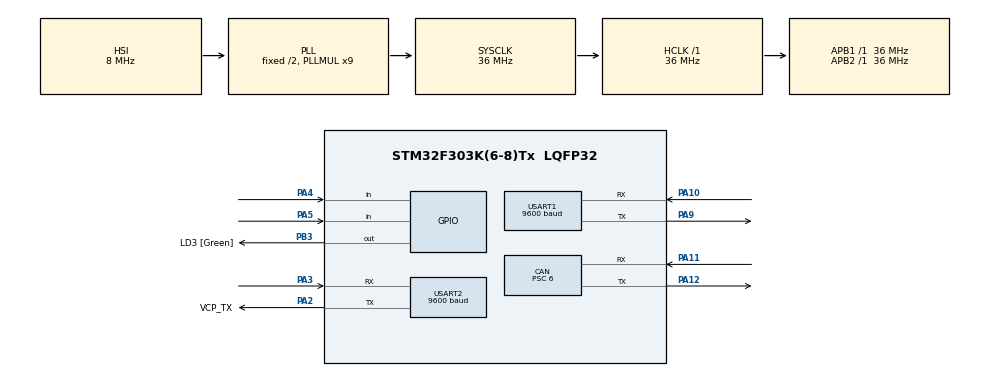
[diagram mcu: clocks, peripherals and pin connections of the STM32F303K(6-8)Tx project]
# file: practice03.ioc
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CAN.BS1=CAN_BS1_3TQ
CAN.BS2=CAN_BS2_2TQ
CAN.CalculateTimeQuantum=166.66666666666669
CAN.Prescaler=6
Mcu.Family=STM32F3
Mcu.Name=STM32F303K(6-8)Tx
Mcu.Package=LQFP32
NVIC.CAN_RX0_IRQn=true\:7\:0\:true\:false\:true\:true\:true
NVIC.PriorityGroup=NVIC_PRIORITYGROUP_4
NVIC.TIM1_UP_TIM16_IRQn=true\:0\:0\:true\:false\:true\:true\:true
NVIC.TIM6_DAC1_IRQn=true\:6\:0\:true\:false\:true\:true\:true
NVIC.TIM7_DAC2_IRQn=true\:6\:0\:true\:false\:true\:true\:true
NVIC.USART2_IRQn=true\:4\:0\:true\:false\:true\:true\:true
PA10.Mode=Asynchronous
PA10.Signal=USART1_RX
PA11.Mode=Master
PA11.Signal=CAN_RX
PA12.Mode=Master
PA12.Signal=CAN_TX
PA13.GPIO_Label=SWDIO
PA13.Mode=Serial_Wire
PA13.Signal=SYS_JTMS-SWDIO
PA14.GPIO_Label=SWCLK
PA14.Mode=Serial_Wire
PA14.Signal=SYS_JTCK-SWCLK
PA2.GPIO_Label=VCP_TX
PA2.Mode=Asynchronous
PA2.Signal=USART2_TX
PA3.Mode=Asynchronous
PA3.Signal=USART2_RX
PA4.Signal=GPIO_Input
PA5.Signal=GPIO_Input
PA9.Mode=Asynchronous
PA9.Signal=USART1_TX
PB3.GPIO_Label=LD3 [Green]
PB3.Signal=GPIO_Output
PF0\ /\ OSC_IN.GPIO_Label=MCO
PF0\ /\ OSC_IN.Mode=HSE-External-Clock-Source
PF0\ /\ OSC_IN.Signal=RCC_OSC_IN
ProjectManager.HeapSize=0x200
ProjectManager.StackSize=0x400
ProjectManager.TargetToolchain=SW4STM32
RCC.AHBFreq_Value=36000000
RCC.APB1Freq_Value=36000000
RCC.APB1TimFreq_Value=36000000
RCC.APB2Freq_Value=36000000
RCC.APB2TimFreq_Value=36000000
RCC.CortexFreq_Value=36000000
RCC.HCLKFreq_Value=36000000
RCC.HSE_VALUE=8000000
RCC.HSI_VALUE=8000000
RCC.PLLMUL=RCC_PLL_MUL9
RCC.SYSCLKFreq_VALUE=36000000
RCC.SYSCLKSourceVirtual=RCC_SYSCLKSOURCE_PLLCLK
TIM16.Period=20000-1
TIM16.Prescaler=9-1
TIM6.Period=2000-1
TIM6.Prescaler=9-1
TIM7.Period=2000-1
TIM7.Prescaler=9-1
USART1.BaudRate=9600
USART1.VirtualMode-Asynchronous=VM_ASYNC
USART2.BaudRate=9600
USART2.VirtualMode-Asynchronous=VM_ASYNC
VP_TIM16_VS_ClockSourceINT.Mode=Enable_Timer
VP_TIM6_VS_ClockSourceINT.Mode=Enable_Timer
VP_TIM7_VS_ClockSourceINT.Mode=Enable_Timer
board=NUCLEO-F303K8

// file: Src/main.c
/* USER CODE BEGIN Header */
/**
  ******************************************************************************
  * @file           : main.c
  * @brief          : Main program body
  ******************************************************************************
  * @attention
  *
  * <h2><center>&copy; Copyright (c) 2019 STMicroelectronics.
  * All rights reserved.</center></h2>
  *
  * This software component is licensed by ST under BSD 3-Clause license,
  * the "License"; You may not use this file except in compliance with the
  * License. You may obtain a copy of the License at:
  *                        opensource.org/licenses/BSD-3-Clause
  *
  ******************************************************************************
  */
/* USER CODE END Header */

#include "main.h"
#include "can.h"
#include "tim.h"
#include "usart.h"
#include "gpio.h"

/* USER CODE BEGIN Includes */
#include "stm32_printf.h"
#include "canmd_controller.h"
#include "stm32f4_easy_can.h"
#include "ps3.h"
/* USER CODE END Includes */

/* USER CODE BEGIN PV */
static uint8_t uart2_buf[8];
int motor_printf[4]={-2000,-2000,-2000,-2000};

/* USER CODE END PV */

void SystemClock_Config(void);
/* USER CODE BEGIN PFP */
void canmd_status_set_data(int canmd_num,int motor_select,unsigned int DutyOrPid,int p_value,int i_value,int d_value);

/* USER CODE END PFP */

int main(void)
{

  /* MCU Configuration--------------------------------------------------------*/

  /* Reset of all peripherals, Initializes the Flash interface and the Systick. */
  HAL_Init();

  /* Configure the system clock */
  SystemClock_Config();

  /* Initialize all configured peripherals */
  MX_GPIO_Init();
  MX_TIM7_Init();
  MX_USART1_UART_Init();
  MX_CAN_Init();
  MX_TIM6_Init();
  MX_USART2_UART_Init();
  MX_TIM16_Init();
  /* USER CODE BEGIN 2 */
  ps3_init();
  stm32_printf_init(&huart1);
  HAL_UART_Receive_IT(&huart2,uart2_buf,8);

  canmd_controller_init();

  stm32f4_easy_can_init(&hcan,0,0b11111);
  canmd_controller_clear_all_encoder_count();

  //// PID値設定送信
  HAL_Delay(500);
  canmd_status_set_data(1,0,0,30,30,45);
  canmd_status_set_data(1,1,0,30,30,45);
  canmd_status_set_data(2,0,0,30,30,45);
  canmd_status_set_data(2,1,0,30,30,45);
  canmd_status_set_data(3,0,0,30,30,45);
  canmd_status_set_data(3,1,0,30,30,45);
  canmd_status_set_data(4,0,0,30,30,45);
  canmd_status_set_data(4,1,0,30,30,45);

  //HAL_TIM_Base_Start_IT(&htim6);
  HAL_TIM_Base_Start_IT(&htim7);
  HAL_TIM_Base_Start_IT(&htim16);

  /* USER CODE END 2 */

  /* Infinite loop */
  /* USER CODE BEGIN WHILE */

 int i;
 //Ps3 ps3_data;
  while (1)
  {

    /* USER CODE END WHILE */

    /* USER CODE BEGIN 3 */

	 /* ps3_get_data(&ps3_data);
	  stm32_printf("====================================================================================================\n\r");
	  stm32_printf("L1=%d\n\r",ps3_data.L1);
	  stm32_printf("L2=%d\n\r",ps3_data.L2);
	  stm32_printf("R1=%d\n\r",ps3_data.R1);
	  stm32_printf("R2=%d\n\r",ps3_data.R2);
	  stm32_printf("batsu=%d\n\r",ps3_data.batsu);
	  stm32_printf("maru=%d\n\r",ps3_data.maru);
	  stm32_printf("shikaku=%d\n\r",ps3_data.shikaku);
	  stm32_printf("sankaku=%d\n\r",ps3_data.sankaku);
	  stm32_printf("up=%d\n\r",ps3_data.up);
	  stm32_printf("down=%d\n\r",ps3_data.down);
	  stm32_printf("right=%d\n\r",ps3_data.right);
	  stm32_printf("left=%d\n\r",ps3_data.left);
	  stm32_printf("left_analog_updown=%d\n\r",ps3_data.left_analog_updown);
	  stm32_printf("left_analog_rightleft=%d\n\r",ps3_data.left_analog_rightleft);

	  //debug printf
	  for(i=0;i<4;i++){
		  stm32_printf("motor_printf[%d]=%d\n\r",i,motor_printf[i]);
	  }*/
  }
  /* USER CODE END 3 */
}

void SystemClock_Config(void)
{
  RCC_OscInitTypeDef RCC_OscInitStruct = {0};
  RCC_ClkInitTypeDef RCC_ClkInitStruct = {0};
  RCC_PeriphCLKInitTypeDef PeriphClkInit = {0};

  /** Initializes the CPU, AHB and APB busses clocks
  */
  RCC_OscInitStruct.OscillatorType = RCC_OSCILLATORTYPE_HSI;
  RCC_OscInitStruct.HSIState = RCC_HSI_ON;
  RCC_OscInitStruct.HSICalibrationValue = RCC_HSICALIBRATION_DEFAULT;
  RCC_OscInitStruct.PLL.PLLState = RCC_PLL_ON;
  RCC_OscInitStruct.PLL.PLLSource = RCC_PLLSOURCE_HSI;
  RCC_OscInitStruct.PLL.PLLMUL = RCC_PLL_MUL9;
  if (HAL_RCC_OscConfig(&RCC_OscInitStruct) != HAL_OK)
  {
    Error_Handler();
  }
  /** Initializes the CPU, AHB and APB busses clocks
  */
  RCC_ClkInitStruct.ClockType = RCC_CLOCKTYPE_HCLK|RCC_CLOCKTYPE_SYSCLK
                              |RCC_CLOCKTYPE_PCLK1|RCC_CLOCKTYPE_PCLK2;
  RCC_ClkInitStruct.SYSCLKSource = RCC_SYSCLKSOURCE_PLLCLK;
  RCC_ClkInitStruct.AHBCLKDivider = RCC_SYSCLK_DIV1;
  RCC_ClkInitStruct.APB1CLKDivider = RCC_HCLK_DIV1;
  RCC_ClkInitStruct.APB2CLKDivider = RCC_HCLK_DIV1;

  if (HAL_RCC_ClockConfig(&RCC_ClkInitStruct, FLASH_LATENCY_1) != HAL_OK)
  {
    Error_Handler();
  }
  PeriphClkInit.PeriphClockSelection = RCC_PERIPHCLK_USART1;
  PeriphClkInit.Usart1ClockSelection = RCC_USART1CLKSOURCE_PCLK1;
  if (HAL_RCCEx_PeriphCLKConfig(&PeriphClkInit) != HAL_OK)
  {
    Error_Handler();
  }
}

/* USER CODE BEGIN 4 */
void HAL_TIM_PeriodElapsedCallback(TIM_HandleTypeDef *htim){
	if(htim->Instance == TIM16){
		HAL_GPIO_TogglePin(GPIOB, GPIO_PIN_3);
		int motor_output[CANMD_MD_NUM + 1][2] = {};
		int id=1;
		/*制御文*/

		Ps3 ps3_data;
		 ps3_get_data(&ps3_data);

		 stm32_printf("Hello,World!\n\r");
		 stm32_printf("L1=%d\n\r",ps3_data.L1);
		 stm32_printf("L2=%d\n\r",ps3_data.L2);
		 stm32_printf("R1=%d\n\r",ps3_data.R1);
		 stm32_printf("R2=%d\n\r",ps3_data.R2);
		 stm32_printf("batsu=%d\n\r",ps3_data.batsu);
		 stm32_printf("maru=%d\n\r",ps3_data.maru);
		 stm32_printf("shikaku=%d\n\r",ps3_data.shikaku);
		 stm32_printf("sankaku=%d\n\r",ps3_data.sankaku);
		 stm32_printf("up=%d\n\r",ps3_data.up);
		 stm32_printf("down=%d\n\r",ps3_data.down);
		 stm32_printf("right=%d\n\r",ps3_data.right);
		 stm32_printf("left=%d\n\r",ps3_data.left);
		 stm32_printf("left_analog_updown=%d\n\r",ps3_data.left_analog_updown);
		 stm32_printf("left_analog_rightleft=%d\n\r",ps3_data.left_analog_rightleft);

/*制御文終了*/

		for(id = 1;id < (CANMD_MD_NUM + 1);id++)
		{
			canmd_controller_set_motor_control_data(id, motor_output[id][0],motor_output[id][1]);
		}
	}
	//end TIM7

	if(htim->Instance == TIM7) {
		int id = 1;
		int dlc = 3;
		unsigned char data[8];

		// 送信データ生成
		canmd_controller_get_can_transmit_data(&id, &dlc, data);

		// CANデータ送信
		stm32f4_easy_can_transmit_message(id, dlc, data);
	}
}

//*********************************************************
//    CAN割り込み関数
//*********************************************************
void stm32f4_easy_can_interrupt_handler(void)
{
	int id;
	int dlc;
	unsigned char data[8];

	// 受信データ取得
	stm32f4_easy_can_get_receive_message(&id, &dlc, data);
	// canmdモジュールに受信データを渡す
	canmd_controller_set_can_receive_data(id, dlc, data);

}

//*********************************************************
//    UART割り込み関数
//*********************************************************
void HAL_UART_RxCpltCallback(UART_HandleTypeDef *huart)
{
    if(huart->Instance == huart2.Instance) {
        ps3_uart_interrupt_routine(uart2_buf, 8);
        HAL_UART_Receive_IT(&huart2, uart2_buf, 8);
    }
}

//*********************************************************
//    PID値セット関数
//*********************************************************

void canmd_status_set_data(int canmd_num,int motor_select,unsigned int DutyOrPid,int p_value,int i_value,int d_value)
{
	int id;
	int dlc = 4;
	unsigned char data[8];

	id = canmd_num;

    data[0] = ((motor_select << 6) & 0b11000000 ) | DutyOrPid;
    data[1] = p_value & 0XFF;
    data[2] = i_value & 0XFF;
    data[3] = d_value & 0XFF;

	// CANデータ送信
    HAL_Delay(100);

	stm32f4_easy_can_transmit_message(id, dlc, data);
}

/* USER CODE END 4 */

void Error_Handler(void)
{
}

/************************ (C) COPYRIGHT STMicroelectronics *****END OF FILE****/
